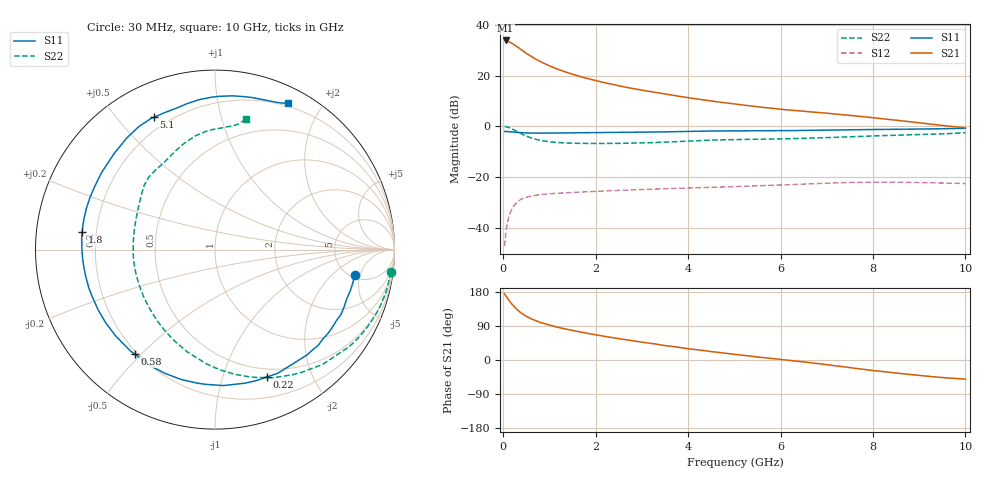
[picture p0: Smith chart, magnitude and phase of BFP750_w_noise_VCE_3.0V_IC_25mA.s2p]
! Infineon Technologies  Discrete & RF Semiconductors
! BFP750
! VCE =  3.0 V,  IC =  25 mA
! Common Emitter S-Parameters:  Jan 2016
# GHz  S  MA  R  50
!  f  S11  S21  S12  S22
! GHz  MAG  ANG  MAG  ANG  MAG  ANG  MAG  ANG
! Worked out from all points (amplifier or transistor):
!   229 points, 30 MHz to 10 GHz, reference 50 ohm
!   highest |S21| = 33.9 dB at 50 MHz (marker M1)
!   |S21| within 3 dB of that: start of sweep to 338.7 MHz
!   unconditionally stable (mu >= 1): 4.651 GHz to end of sweep
!   at 280 MHz: K = 0.12, MSG = 31.0 dB, |S12| = -30.3 dB
!   at 1.78 GHz: K = 0.56, MSG = 22.4 dB, |S12| = -25.8 dB
!   at 10 GHz: K = 1.08, MAG = 9.3 dB, |S12| = -22.6 dB
!   lowest NFmin = 0.79 dB at 450 MHz
!   S11 on the Smith chart (normalised r, x): 30 MHz: 5.45, -4.08; 220 MHz: 0.41, -1.41; 580 MHz: 0.19, -0.48; 1.8 GHz: 0.15, +0.06; 5.1 GHz: 0.15, +0.63; 10 GHz: 0.17, +1.60
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0.03  0.791 -10.2  49.3 174.3  0.0043 83.1  0.9863 -7.3
0.05  0.7879 -17.0  49.32 170.1  0.0071 80.7  0.9834 -12.3
0.08  0.7894 -27.3  48.55 165.2  0.0111 76.8  0.9711 -19.8
0.15  0.7792 -49.0  45.51 153.2  0.0194 66.2  0.9213 -36.2
0.2  0.7726 -63.1  42.74 145.6  0.0243 59.7  0.8765 -46.9
0.22  0.7662 -67.9  41.54 143.1  0.0259 57.2  0.855 -50.7
0.3  0.7589 -86.5  37.07 132.9  0.0318 49.1  0.7839 -65.6
0.4  0.7479 -104.5  31.85 122.9  0.0367 41.2  0.7029 -81.1
0.5  0.7401 -118.7  27.53 115.1  0.0398 35.4  0.639 -94.1
0.58  0.7343 -127.6  24.71 110.3  0.0415 31.8  0.5987 -102.8
0.7  0.7332 -138.9  21.24 103.7  0.0435 27.7  0.555 -114.4
0.8  0.7329 -146.4  18.97 99.2  0.0447 25.2  0.5285 -122.6
1  0.7323 -158.3  15.54 91.9  0.0465 21.5  0.4945 -136.0
1.3  0.7368 -171.4  12.18 83.0  0.0484 17.9  0.4701 -151.3
1.7  0.7451 175.3  9.389 73.2  0.0506 14.9  0.4589 -166.3
1.8  0.7468 172.6  8.86 70.8  0.0511 14.3  0.4578 -169.4
2.58  0.7558 154.0  6.073 54.8  0.0545 10.3  0.4599 169.6
3.4  0.7722 138.2  4.469 40.2  0.0582 6.7  0.4823 153.3
5.1  0.8122 114.7  2.683 13.6  0.0649 -0.3  0.5481 131.2
6.8  0.8348 97.8  1.872 -9.3  0.0741 -9.0  0.5888 112.5
8.4  0.8688 78.5  1.346 -33.1  0.0787 -22.3  0.6613 94.2
10  0.9109 63.5  0.932 -50.5  0.0741 -32.7  0.7465 76.6
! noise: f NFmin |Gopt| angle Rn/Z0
0.45  0.79  0.09  -165  0.58
0.9  0.81  0.15  -161  0.15
1.5  0.82  0.17  -161  0.11
1.9  0.83  0.19  -161  0.09
2.4  0.86  0.22  -154  0.08
3.5  1.1  0.28  -138  0.08
